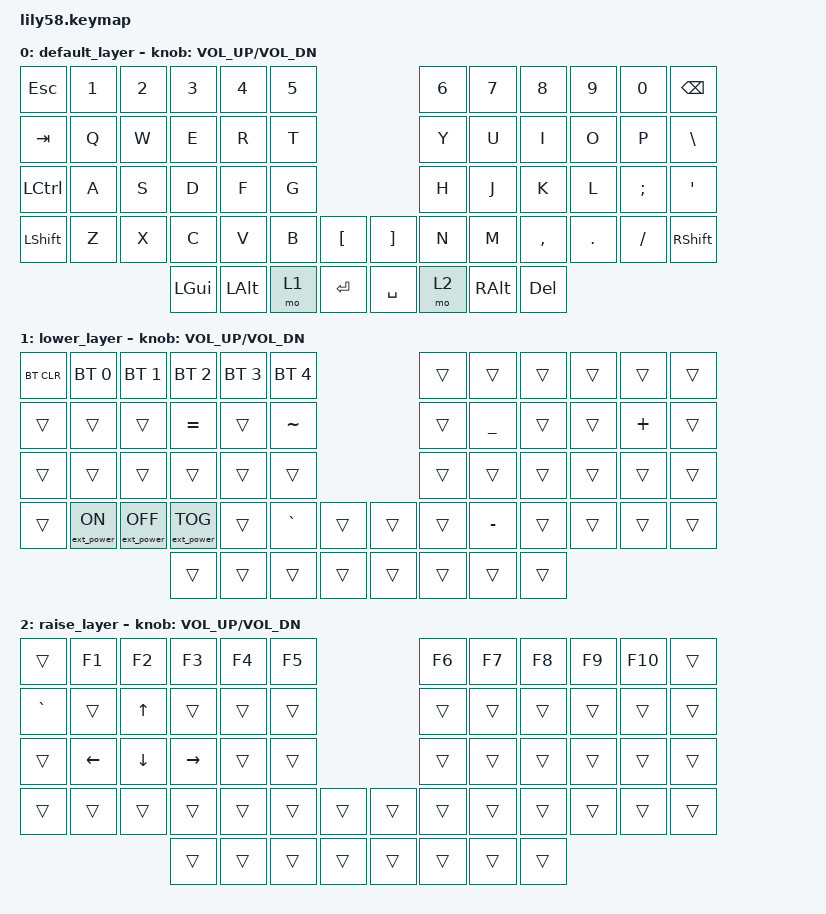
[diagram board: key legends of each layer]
/*
 * Copyright (c) 2020 The ZMK Contributors
 *
 * SPDX-License-Identifier: MIT
 */

#include <behaviors.dtsi>
#include <dt-bindings/zmk/keys.h>
#include <dt-bindings/zmk/bt.h>
#include <dt-bindings/zmk/ext_power.h>
#include <dt-bindings/zmk/outputs.h>

/ {
    keymap {
        compatible = "zmk,keymap";

        default_layer {
// ------------------------------------------------------------------------------------------------------------
// |  ESC  |  1  |  2  |  3   |  4   |  5   |                   |  6   |  7    |  8    |  9   |   0   |   bs  |
// |  TAB  |  Q  |  W  |  E   |  R   |  T   |                   |  Y   |  U    |  I    |  O   |   P   |   \   |
// |  CTRL |  A  |  S  |  D   |  F   |  G   |                   |  H   |  J    |  K    |  L   |   ;   |   '   |
// | SHIFT |  Z  |  X  |  C   |  V   |  B   |   "["  |  |  "]"  |  N   |  M    |  ,    |  .   |   /   | SHIFT |
//                     | menu | alt  | LOWER|  enter |  | space | RAISE| alt   | del   |
            bindings = <
&kp ESC   &kp N1 &kp N2 &kp N3   &kp N4   &kp N5                     &kp N6 &kp N7   &kp N8    &kp N9  &kp N0   &kp BSPC
&kp TAB   &kp Q  &kp W  &kp E    &kp R    &kp T                      &kp Y  &kp U    &kp I     &kp O   &kp P    &kp BSLH
&kp LCTRL &kp A  &kp S  &kp D    &kp F    &kp G                      &kp H  &kp J    &kp K     &kp L   &kp SEMI &kp SQT
&kp LSHFT &kp Z  &kp X  &kp C    &kp V    &kp B  &kp LBKT &kp RBKT   &kp N  &kp M    &kp COMMA &kp DOT &kp FSLH &kp RSHFT
                        &kp LGUI &kp LALT &mo 1  &kp RET  &kp SPACE  &mo 2  &kp RALT &kp DEL
            >;

            sensor-bindings = <&inc_dec_kp C_VOL_UP C_VOL_DN>;
        };

        lower_layer {
// ------------------------------------------------------------------------------------------------------------
// | BTCLR | BT1 | BT2 |  BT3 |  BT4 |  BT5 |                   |       |        |        |        |        |       |
// |       |     |     |      |      |      |                   |       |        |        |        |        |       |
// |       |     |     |      |      |      |                   |       |        |        |        |        |       |
// |       | PON | POFF| Ptog |      |      |        |  |       |       |        |        |        |        |       |
//                     |      |      |      |        |  |       |       |        |        |
            bindings = <
&bt BT_CLR &bt BT_SEL 0     &bt BT_SEL 1      &bt BT_SEL 2      &bt BT_SEL 3 &bt BT_SEL 4                    &trans    &trans       &trans    &trans    &trans     &trans
&trans     &trans           &trans            &kp EQUAL         &trans       &kp TILDE                       &trans    &kp UNDER    &trans    &trans    &kp PLUS   &trans
&trans     &trans           &trans            &trans            &trans       &trans                          &trans    &trans       &trans    &trans    &trans     &trans
&trans     &ext_power EP_ON &ext_power EP_OFF &ext_power EP_TOG &trans       &kp GRAVE    &trans   &trans    &trans    &kp MINUS    &trans    &trans    &trans     &trans
                                              &trans            &trans       &trans       &trans   &trans    &trans    &trans       &trans
            >;

            sensor-bindings = <&inc_dec_kp C_VOL_UP C_VOL_DN>;
        };

        raise_layer {
// ------------------------------------------------------------------------------------------------------------
// |         |   f1  |    f2  |  f3  |  f4  |   f5 |                   |  f6  |   f7  |   f8  |   f9 |   f10 |       |
// |   `     |       |    up  |      |      |      |                   |      |       |       |      |       |       |
// |         |  left |  down  | right|      |      |                   |      |       |       |      |       |       |
// |         |       |        |      |      |      |        |  |       |      |       |       |      |       |       |
//                            |      |      |      |        |  |       |      |       |       |
            bindings = <
&trans    &kp F1    &kp F2    &kp F3     &kp F4  &kp F5                       &kp F6      &kp F7       &kp F8    &kp F9   &kp F10   &trans
&kp GRAVE &trans    &kp UP    &trans     &trans  &trans                       &trans      &trans       &trans    &trans   &trans    &trans
&trans    &kp LEFT  &kp DOWN  &kp RIGHT  &trans  &trans                       &trans      &trans       &trans    &trans   &trans    &trans
&trans    &trans    &trans    &trans     &trans  &trans    &trans   &trans    &trans      &trans       &trans    &trans   &trans    &trans
                              &trans     &trans  &trans    &trans   &trans    &trans      &trans       &trans
            >;

            sensor-bindings = <&inc_dec_kp C_VOL_UP C_VOL_DN>;
        };
    };
};
